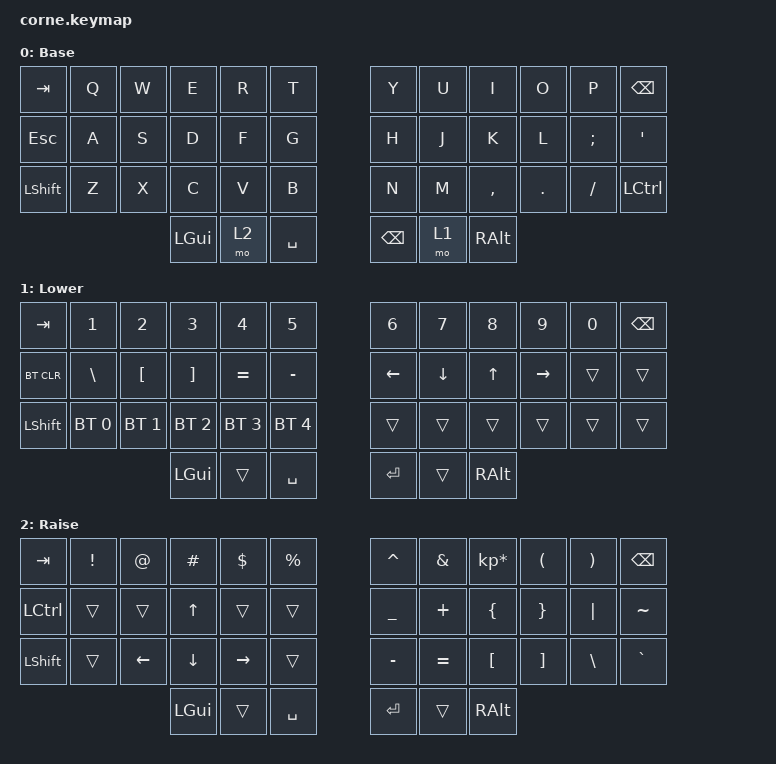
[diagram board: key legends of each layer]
/*
 * Copyright (c) 2020 The ZMK Contributors
 *
 * SPDX-License-Identifier: MIT
 */

#include <behaviors.dtsi>
#include <dt-bindings/zmk/keys.h>
#include <dt-bindings/zmk/bt.h>

/ {
        keymap {
                compatible = "zmk,keymap";

                default_layer {
// -----------------------------------------------------------------------------------------
// |  TAB |  Q  |  W  |  E  |  R  |  T  |   |  Y  |  U   |  I  |  O  |  P  | BKSP |
// | ESC  |  A  |  S  |  D  |  F  |  G  |   |  H  |  J   |  K  |  L  |  ;  |  '   |
// | SHFT |  Z  |  X  |  C  |  V  |  B  |   |  N  |  M   |  ,  |  .  |  /  | LCTRL|
//                    | GUI | RSE | SPC |   | BKSP| LWR  | ALT |
                        label = "Base";
                        bindings = <
   &kp TAB   &kp Q &kp W &kp E &kp R &kp T   &kp Y &kp U  &kp I     &kp O   &kp P    &kp BSPC
   &kp ESC &kp A &kp S &kp D &kp F &kp G   &kp H &kp J  &kp K     &kp L   &kp SEMI &kp SQT
   &kp LSHFT &kp Z &kp X &kp C &kp V &kp B   &kp N &kp M  &kp COMMA &kp DOT &kp FSLH &kp LCTRL
                  &kp LGUI &mo 2 &kp SPACE   &kp BSPC &mo 1 &kp RALT
                        >;
                };
                lower_layer {
// ------------------------------- RIGHT THUMB -------------------------------------------
// |  TAB |  1  |  2  |  3  |  4  |  5  |   |  6  |  7  |  8  |  9  |  0  | BKSP |
// | BTCLR|  \  |  [  |  ]  |  =  |  -  |   | LFT | DWN |  UP | RGT |     |      |
// | SHFT | BT1 | BT2 | BT3 | BT4 | BT5 |   |     |     |     |     |     |      |
//                    | GUI |     | SPC |   | ENT |     | ALT |
                        label = "Lower";
                        bindings = <
   &kp TAB    &kp N1       &kp N2       &kp N3       &kp N4       &kp N5         &kp N6   &kp N7   &kp N8 &kp N9    &kp N0 &kp BSPC
   &bt BT_CLR &kp BSLH     &kp LBKT     &kp RBKT     &kp EQUAL    &kp MINUS      &kp LEFT &kp DOWN &kp UP &kp RIGHT &trans &trans
   &kp LSHFT  &bt BT_SEL 0 &bt BT_SEL 1 &bt BT_SEL 2 &bt BT_SEL 3 &bt BT_SEL 4   &trans   &trans   &trans &trans    &trans &trans
                          	        &kp LGUI     &trans       &kp SPACE      &kp RET  &trans   &kp RALT
                        >;
                };

                raise_layer {
// ------------------------------------ LEFT THUMB ----------------------------------------
// |  TAB |  !  |  @  |  #  |  $  |  %  |   |  ^  |  &  |  *  |  (  |  )  | BKSP |
// | CTRL |     |     |  UP |     |     |   |  _  |  +  |  {  |  }  | "|" |  ~   |
// | SHFT |     | LFT | DWN | RGT |     |   |  -  |  =  |  [  |  ]  |  \  |  `   |
//                    | GUI |     | SPC |   | ENT |     | ALT |
                        label = "Raise";
                        bindings = <
   &kp  TAB  &kp EXCL &kp AT &kp HASH &kp DLLR &kp PRCNT       &kp CARET &kp AMPS  &kp KP_MULTIPLY &kp LPAR &kp RPAR &kp BSPC
   &kp LCTRL &trans   &trans &kp UP   &trans  &trans           &kp UNDER &kp PLUS  &kp LBRC  &kp RBRC &kp PIPE &kp TILDE
   &kp LSHFT &trans  &kp LEFT &kp DOWN  &kp RIGHT &trans       &kp MINUS &kp EQUAL &kp LBKT  &kp RBKT &kp BSLH &kp GRAVE
                    	&kp LGUI  &trans  &kp SPACE            &kp RET  &trans   &kp RALT
                        >;
                };
        };
};
